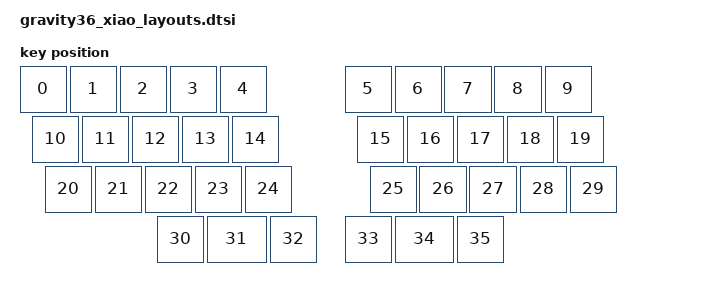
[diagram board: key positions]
#include <physical_layouts.dtsi>

/ {
    physical_layout0: physical_layout_0 {
        compatible = "zmk,physical-layout";
        display-name = "Default";

        keys  //                     w   h    x    y     rot    rx    ry
            = <&key_physical_attrs 100 100    0    0       0     0     0>
            , <&key_physical_attrs 100 100  100    0       0     0     0>
            , <&key_physical_attrs 100 100  200    0       0     0     0>
            , <&key_physical_attrs 100 100  300    0       0     0     0>
            , <&key_physical_attrs 100 100  400    0       0     0     0>
            , <&key_physical_attrs 100 100  650    0       0     0     0>
            , <&key_physical_attrs 100 100  750    0       0     0     0>
            , <&key_physical_attrs 100 100  850    0       0     0     0>
            , <&key_physical_attrs 100 100  950    0       0     0     0>
            , <&key_physical_attrs 100 100 1050    0       0     0     0>

            , <&key_physical_attrs 100 100   25  100       0     0     0>
            , <&key_physical_attrs 100 100  125  100       0     0     0>
            , <&key_physical_attrs 100 100  225  100       0     0     0>
            , <&key_physical_attrs 100 100  325  100       0     0     0>
            , <&key_physical_attrs 100 100  425  100       0     0     0>
            , <&key_physical_attrs 100 100  675  100       0     0     0>
            , <&key_physical_attrs 100 100  775  100       0     0     0>
            , <&key_physical_attrs 100 100  875  100       0     0     0>
            , <&key_physical_attrs 100 100  975  100       0     0     0>
            , <&key_physical_attrs 100 100 1075  100       0     0     0>
            , <&key_physical_attrs 100 100   50  200       0     0     0>

            , <&key_physical_attrs 100 100  150  200       0     0     0>
            , <&key_physical_attrs 100 100  250  200       0     0     0>
            , <&key_physical_attrs 100 100  350  200       0     0     0>
            , <&key_physical_attrs 100 100  450  200       0     0     0>
            , <&key_physical_attrs 100 100  700  200       0     0     0>
            , <&key_physical_attrs 100 100  800  200       0     0     0>
            , <&key_physical_attrs 100 100  900  200       0     0     0>
            , <&key_physical_attrs 100 100 1000  200       0     0     0>
            , <&key_physical_attrs 100 100 1100  200       0     0     0>

            , <&key_physical_attrs 100 100  275  300       0     0     0>
            , <&key_physical_attrs 125 100  375  300       0     0     0>
            , <&key_physical_attrs 100 100  500  300       0     0     0>
            , <&key_physical_attrs 100 100  650  300       0     0     0>
            , <&key_physical_attrs 125 100  750  300       0     0     0>
            , <&key_physical_attrs 100 100  875  300       0     0     0>
            ;
    };
};
